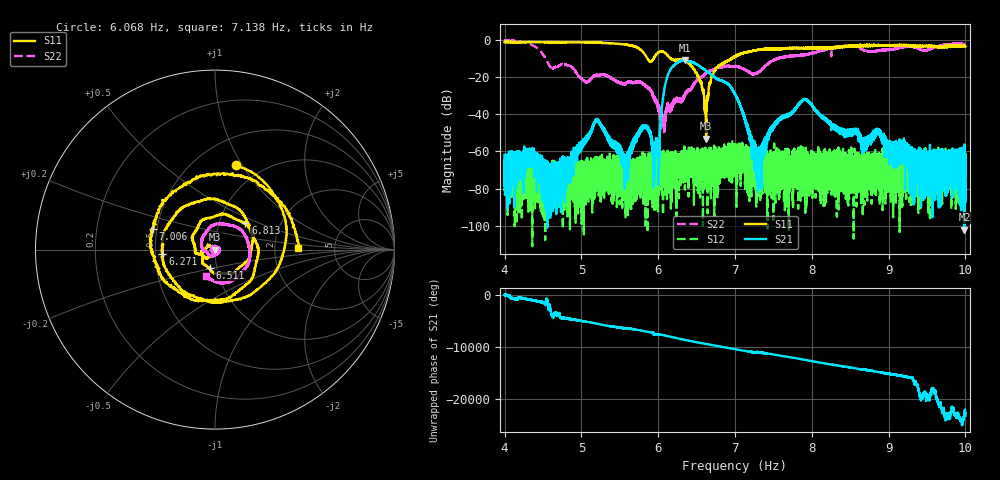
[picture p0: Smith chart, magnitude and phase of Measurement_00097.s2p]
!Created with skrf (http://scikit-rf.org).
# Hz S RI R 50.0
!freq ReS11 ImS11 ReS21 ImS21 ReS12 ImS12 ReS22 ImS22
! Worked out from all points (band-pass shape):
!   14001 points, 4 Hz to 10 Hz, reference 50 ohm
!   highest |S21| = -10.75 dB at 6.346 Hz (marker M1); lowest = -102.1 dB at 9.987 Hz (marker M2)
!   |S21| within 3 dB of the highest: 6.200678 Hz to 6.200829 Hz (151.1 uHz wide, 0.00244 % of centre); 6.201 Hz to 6.53 Hz (328.4 mHz wide, 5.16 % of centre)
!   lowest |S11| = -53.1 dB at 6.624 Hz (marker M3), VSWR 1.00, Z = 49.8 + j0.0487 ohm
!   |S11| at or under -10 dB: 5.862 Hz to 5.937 Hz (75.58 mHz wide, 1.28 % of centre); 6.167862 Hz to 6.169411 Hz (1.549 mHz wide, 0.0251 % of centre); 6.169 Hz to 6.955 Hz (785.1 mHz wide, 12 % of centre)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
!   |S22| runs from -49.7 to -0.2 dB; largest |S21 - S12| = 0.29
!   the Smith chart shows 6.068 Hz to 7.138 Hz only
!   S11 on the Smith chart (normalised r, x): 6.068 Hz: 0.76, +0.94; 6.271 Hz: 0.55, -0.03; 6.511 Hz: 0.92, -0.19; 6.813 Hz: 1.33, +0.42; 7.006 Hz: 0.47, +0.13; 7.138 Hz: 2.71, +0.07
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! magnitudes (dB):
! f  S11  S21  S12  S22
! 4 Hz  -1.1  -61.8  -72.5  -0.3
! 4.594 Hz  -1.1  -72.5  -72.2  -14.3
! 5 Hz  -1.2  -58.5  -72.6  -20.7
! 5.202 Hz  -1.4  -43.4  -70.6  -18.9
! 5.568 Hz  -2.4  -64.3  -73.0  -23.4
! 5.805 Hz  -6.5  -46.4  -69.7  -23.8
! 6 Hz  -6.6  -56.5  -67.3  -35.8
! 6.068 Hz  -6.3  -29.6  -59.6  -43.1
! 6.271 Hz  -10.6  -11.6  -62.4  -32.0
! 6.346 Hz  -10.8  -10.8  -68.0  -29.5
! 6.511 Hz  -19.6  -13.3  -69.6  -21.2
! 6.624 Hz  -53.1  -16.5  -68.2  -17.6
! 6.813 Hz  -13.0  -21.7  -61.0  -14.5
! 7 Hz  -8.8  -29.3  -66.7  -14.0
! 7.006 Hz  -8.7  -29.4  -61.1  -14.0
! 7.138 Hz  -6.7  -43.8  -63.2  -16.1
! 7.303 Hz  -5.3  -60.0  -68.3  -17.5
! 7.57 Hz  -4.8  -42.5  -85.7  -9.6
! 8 Hz  -4.4  -35.0  -69.3  -6.9
! 9 Hz  -3.0  -60.2  -64.0  -5.1
! 9.987 Hz  -3.0  -102.1  -77.3  -2.5
! 10 Hz  -3.4  -66.5  -70.0  -3.1
